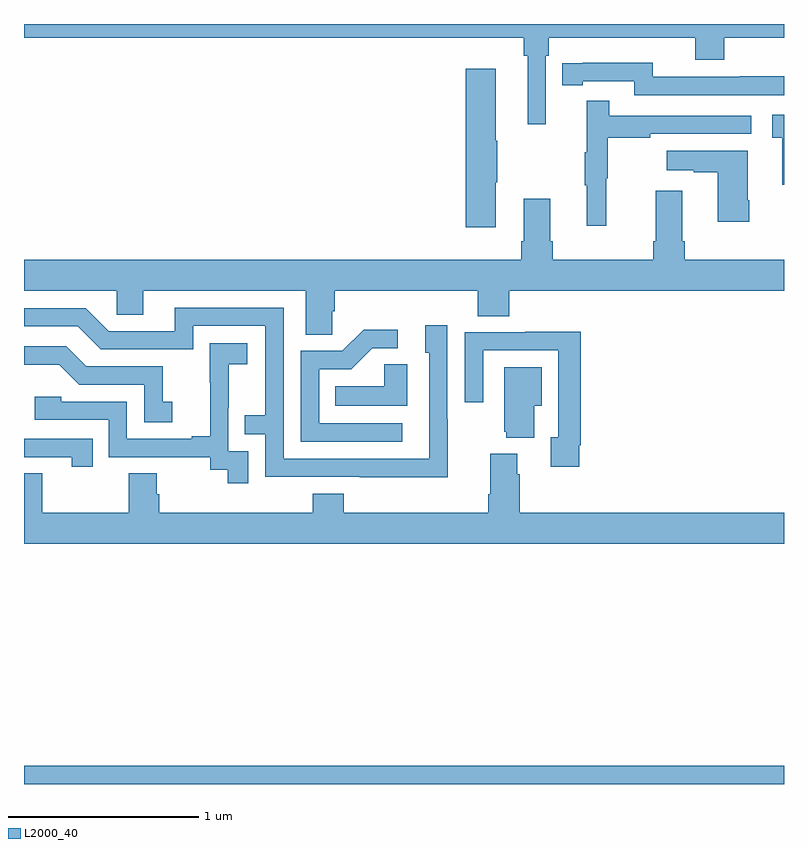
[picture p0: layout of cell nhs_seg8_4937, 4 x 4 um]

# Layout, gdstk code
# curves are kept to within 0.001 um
import gdstk
lib = gdstk.Library(unit=1e-6, precision=1e-09)
def R(c, l, rs):  # rectangles x0, y0, x1, y1
    for r in rs: c.add(gdstk.rectangle(r[:2], r[2:], *l))
def P(c, l, *ps):  # polygons
    for p in ps: c.add(gdstk.Polygon(p, *l))
L2000_40 = (2000, 40)

nhs_seg8_4937 = lib.new_cell('nhs_seg8_4937')
R(nhs_seg8_4937, L2000_40, [(409,1117.9,413,1117.996)])
P(nhs_seg8_4937, L2000_40, [(411.747,1121.732),(411.761,1121.732),(411.761,1121.828),(412.532,1121.828),(412.532,1121.711),(412.685,1121.711),(412.685,1121.828),(413,1121.828),(413,1121.9),(409,1121.9),(409,1121.828),(411.631,1121.828),(411.631,1121.732),(411.65,1121.732),(411.65,1121.373),(411.747,1121.373)],
  [(413,1121.624),(412.768,1121.624),(412.768,1121.622),(412.308,1121.622),(412.308,1121.695),(411.94,1121.695),(411.94,1121.694),(411.832,1121.694),(411.832,1121.578),(411.94,1121.578),(411.94,1121.598),(412.212,1121.598),(412.212,1121.526),(413,1121.526)],
  [(411.484,1121.068),(411.492,1121.068),(411.492,1121.285),(411.484,1121.285),(411.484,1121.665),(411.326,1121.665),(411.326,1120.83),(411.484,1120.83)],
  [(412.064,1121.088),(412.072,1121.088),(412.072,1121.302),(412.295,1121.302),(412.295,1121.322),(412.828,1121.322),(412.828,1121.418),(412.079,1121.418),(412.079,1121.497),(411.962,1121.497),(411.962,1121.225),(411.951,1121.225),(411.951,1121.051),(411.962,1121.051),(411.962,1120.839),(412.064,1120.839)],
  [(413,1121.422),(412.938,1121.422),(412.938,1121.301),(412.991,1121.301),(412.991,1121.055),(413,1121.055)],
  [(412.818,1120.972),(412.81,1120.972),(412.81,1121.233),(412.383,1121.233),(412.383,1121.129),(412.526,1121.129),(412.526,1121.119),(412.652,1121.119),(412.652,1120.86),(412.818,1120.86)],
  [(410.622,1120.387),(410.636,1120.387),(410.636,1120.496),(411.389,1120.496),(411.389,1120.363),(411.554,1120.363),(411.554,1120.496),(413,1120.496),(413,1120.66),(412.478,1120.66),(412.478,1120.756),(412.465,1120.756),(412.465,1121.023),(412.325,1121.023),(412.325,1120.756),(412.313,1120.756),(412.313,1120.66),(411.782,1120.66),(411.782,1120.756),(411.769,1120.756),(411.769,1120.981),(411.629,1120.981),(411.629,1120.756),(411.617,1120.756),(411.617,1120.66),(409,1120.66),(409,1120.496),(409.488,1120.496),(409.488,1120.369),(409.627,1120.369),(409.627,1120.496),(410.483,1120.496),(410.483,1120.264),(410.622,1120.264)],
  [(411.231,1119.821),(411.228,1119.821),(411.228,1120.315),(411.113,1120.315),(411.113,1120.17),(411.132,1120.17),(411.132,1119.612),(410.367,1119.612),(410.367,1120.407),(409.793,1120.407),(409.793,1120.284),(409.446,1120.284),(409.326,1120.404),(409,1120.404),(409,1120.308),(409.284,1120.308),(409.404,1120.188),(409.89,1120.188),(409.89,1120.311),(410.271,1120.311),(410.271,1119.842),(410.161,1119.842),(410.161,1119.741),(410.271,1119.741),(410.271,1119.516),(411.231,1119.515)],
  [(410.992,1119.798),(410.553,1119.798),(410.553,1120.083),(410.722,1120.083),(410.833,1120.194),(410.968,1120.194),(410.968,1120.292),(410.789,1120.292),(410.676,1120.179),(410.457,1120.179),(410.457,1119.702),(410.992,1119.702)],
  [(411.922,1119.682),(411.929,1119.682),(411.929,1120.28),(411.637,1120.28),(411.637,1120.278),(411.321,1120.278),(411.321,1119.909),(411.417,1119.909),(411.417,1120.182),(411.813,1120.182),(411.813,1119.726),(411.773,1119.726),(411.773,1119.57),(411.922,1119.57)],
  [(410.181,1119.651),(410.076,1119.651),(410.076,1119.881),(410.078,1119.881),(410.078,1120.109),(410.176,1120.109),(410.176,1120.219),(409.978,1120.219),(409.978,1120.013),(409.979,1120.013),(409.979,1119.73),(409.883,1119.73),(409.883,1119.717),(409.542,1119.717),(409.542,1119.912),(409.197,1119.912),(409.197,1119.939),(409.057,1119.939),(409.057,1119.816),(409.446,1119.816),(409.446,1119.621),(409.98,1119.621),(409.98,1119.553),(410.073,1119.553),(410.073,1119.483),(410.181,1119.483)],
  [(409.78,1119.913),(409.731,1119.913),(409.731,1120.098),(409.327,1120.098),(409.222,1120.203),(409,1120.203),(409,1120.106),(409.186,1120.106),(409.29,1120.002),(409.632,1120.002),(409.632,1119.804),(409.78,1119.804)],
  [(411.016,1120.109),(410.895,1120.109),(410.895,1119.994),(410.638,1119.994),(410.638,1119.89),(411.016,1119.89)],
  [(411.685,1119.89),(411.724,1119.89),(411.724,1120.093),(411.527,1120.093),(411.527,1119.753),(411.539,1119.753),(411.539,1119.722),(411.685,1119.722)],
  [(409.361,1119.717),(409,1119.717),(409,1119.621),(409.25,1119.621),(409.25,1119.57),(409.361,1119.57)],
  [(413,1119.328),(411.608,1119.328),(411.608,1119.53),(411.595,1119.53),(411.595,1119.637),(411.455,1119.637),(411.455,1119.424),(411.443,1119.424),(411.443,1119.328),(410.684,1119.328),(410.684,1119.427),(410.519,1119.427),(410.519,1119.328),(409.712,1119.328),(409.712,1119.426),(409.699,1119.426),(409.699,1119.536),(409.552,1119.536),(409.552,1119.328),(409.095,1119.328),(409.095,1119.536),(409,1119.536),(409,1119.164),(413,1119.164)])

lib.write_gds('nhs_seg8_4937.gds')
